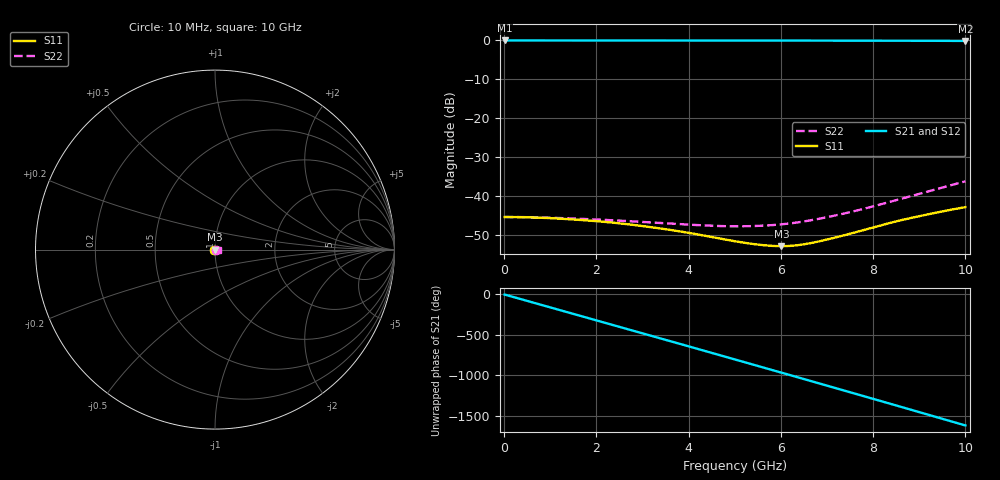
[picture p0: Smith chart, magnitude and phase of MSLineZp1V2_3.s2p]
! TOUCHSTONE file generated by CST MICROWAVE STUDIO
! Date and time: Thu Feb 20 01:01:03 2025
! Project name: MSLineZp1.cst
! Parameters = {Zp1=100; Zp2=50; C=0; L=100; Lamb=0.05; Li=0; R=1e-13; W=20; dlump=2; er=2; h=0.8; w1=2.62}
! Header version: 2024
! Port assignment regex: !\s*Touchstone port\s*([0-9]+)\s*=\s*(CST MWS port|CST DES external port|CST DES block port)\s*(.+)\s* \(\"(.*)\"\)(\s*mode\s*([0-9]+))?.*
! Touchstone port assignment:
! Touchstone port 1 = CST MWS port 1 ("")
! Touchstone port 2 = CST MWS port 2 ("")
# GHz S MA R 50
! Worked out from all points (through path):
!   1000 points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, 10 MHz to 10 GHz, reference 50 ohm
!   highest |S21| = 0.00 dB at 10 MHz (marker M1); lowest = -0.1 dB at 10 GHz (marker M2)
!   group delay of S21, straight-line fit = 449 ps
!   lowest |S11| = -52.8 dB at 6.01 GHz (marker M3), VSWR 1.00, Z = 49.8 - j0.0447 ohm
!   |S11| at or under -10 dB: start of sweep to end of sweep
!   |S22| runs from -47.7 to -36.1 dB; largest |S21 - S12| = 1.7e-06
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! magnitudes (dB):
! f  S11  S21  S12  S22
! 10 MHz  -45.3  0.0  0.0  -45.3
! 790 MHz  -45.5  0.0  0.0  -45.4
! 1.68 GHz  -46.1  0.0  0.0  -45.8
! 2.49 GHz  -46.9  0.0  0.0  -46.2
! 3.34 GHz  -48.2  0.0  0.0  -46.8
! 4.01 GHz  -49.4  0.0  0.0  -47.3
! 4.59 GHz  -50.6  0.0  0.0  -47.6
! 5.01 GHz  -51.5  0.0  0.0  -47.7
! 5.58 GHz  -52.5  0.0  0.0  -47.6
! 5.81 GHz  -52.7  0.0  0.0  -47.4
! 6.01 GHz  -52.8  0.0  0.0  -47.2
! 6.17 GHz  -52.7  0.0  0.0  -47.0
! 6.33 GHz  -52.6  0.0  0.0  -46.8
! 6.67 GHz  -52.0  0.0  0.0  -46.1
! 7.02 GHz  -51.0  0.0  0.0  -45.3
! 7.47 GHz  -49.7  0.0  0.0  -44.1
! 7.85 GHz  -48.5  0.0  0.0  -43.0
! 8.34 GHz  -46.9  -0.1  -0.1  -41.5
! 8.7 GHz  -45.9  -0.1  -0.1  -40.3
! 9.14 GHz  -44.7  -0.1  -0.1  -38.9
! 9.69 GHz  -43.4  -0.1  -0.1  -37.1
! 10 GHz  -42.8  -0.1  -0.1  -36.1
